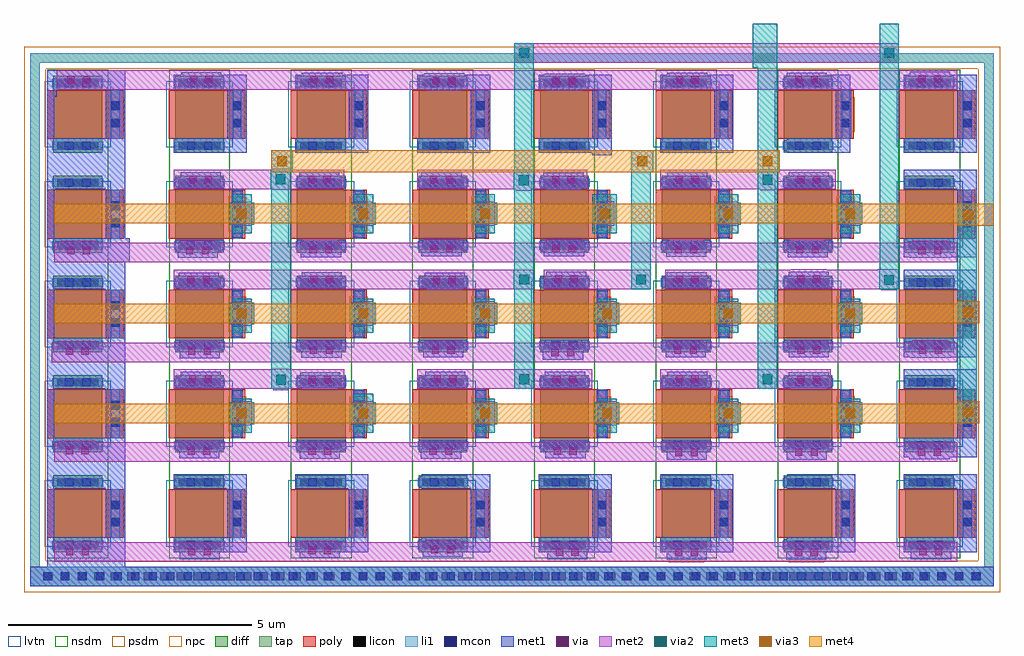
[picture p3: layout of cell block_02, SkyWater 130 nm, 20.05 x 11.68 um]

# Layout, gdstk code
from math import pi, radians
import gdstk
lib = gdstk.Library(unit=1e-6, precision=1e-09)
def R(c, l, rs):  # rectangles x0, y0, x1, y1
    for r in rs: c.add(gdstk.rectangle(r[:2], r[2:], *l))
def A(c, l, x, y, w, h, nx, ny, dx, dy):  # array of equal rectangles
    R(c, l, [(x+i*dx, y+j*dy, x+i*dx+w, y+j*dy+h) for i in range(nx) for j in range(ny)])
diff = (65, 20)
tap = (65, 44)
poly = (66, 20)
licon = (66, 44)
li1 = (67, 20)
mcon = (67, 44)
met1 = (68, 20)
via = (68, 44)
met2 = (69, 20)
via2 = (69, 44)
met3 = (70, 20)
via3 = (70, 44)
met4 = (71, 20)
nsdm = (93, 44)
psdm = (94, 20)
npc = (95, 20)
lvtn = (125, 44)

sky130_fd_pr__nfet_01v8_ = lib.new_cell('sky130_fd_pr__nfet_01v8_lvt_34DASA')
R(sky130_fd_pr__nfet_01v8_, diff, [(-0.79,-0.655,0.79,0.345)])
R(sky130_fd_pr__nfet_01v8_, poly, [(-0.5,-0.785,0.5,0.785)])
A(sky130_fd_pr__nfet_01v8_, licon, -0.73, -0.58, 0.17, 0.17, 1, 3, 0, 0.34)
A(sky130_fd_pr__nfet_01v8_, licon, 0.56, -0.58, 0.17, 0.17, 1, 3, 0, 0.34)
R(sky130_fd_pr__nfet_01v8_, licon, [(-0.255,0.535,-0.085,0.705), (0.085,0.535,0.255,0.705)])
R(sky130_fd_pr__nfet_01v8_, li1, [(-0.73,-0.675,-0.56,0.365), (0.56,-0.675,0.73,0.365), (-0.5,0.535,0.5,0.705)])
R(sky130_fd_pr__nfet_01v8_, mcon, [(-0.73,-0.42,-0.56,-0.25), (0.56,-0.42,0.73,-0.25), (-0.73,-0.06,-0.56,0.11), (0.56,-0.06,0.73,0.11), (-0.265,0.535,-0.095,0.705), (0.095,0.535,0.265,0.705)])
R(sky130_fd_pr__nfet_01v8_, met1, [(-0.76,-0.655,-0.53,0.345), (0.53,-0.655,0.76,0.345), (-0.48,0.505,0.48,0.735)])
R(sky130_fd_pr__nfet_01v8_, nsdm, [(-0.915,-0.78,0.915,0.47)])
R(sky130_fd_pr__nfet_01v8_, npc, [(-0.355,0.435,0.355,0.805)])
R(sky130_fd_pr__nfet_01v8_, lvtn, [(-0.68,-0.835,0.68,0.525)])

block_02 = lib.new_cell('block_02')
R(block_02, tap, [(-5.85,-26,13.95,-25.6), (-5.85,-25.6,-5.65,-15.25), (13.75,-25.6,13.95,-15.25), (-5.85,-15.25,13.95,-15.05)])
A(block_02, licon, -5.555, -25.885, 0.17, 0.17, 57, 1, 0.34, 0)
R(block_02, li1, [(-5.85,-26,13.95,-25.6), (-5.85,-25.6,-5.65,-15.25), (13.75,-25.6,13.95,-15.25), (-5.85,-15.25,13.95,-15.05)])
A(block_02, mcon, -5.575, -25.885, 0.17, 0.17, 54, 1, 0.36, 0)
A(block_02, met1, -5.5, -25, 0.15, 1, 1, 4, 0, 2.05)
A(block_02, met1, -4.3, -25, 0.4, 1, 8, 1, 2.5, 0)
A(block_02, met1, -4.3, -22.95, 0.4, 1, 1, 3, 0, 2.05)
A(block_02, met1, 13.2, -22.95, 0.4, 1, 1, 4, 0, 2.05)
A(block_02, met1, -1.75, -22.65, 0.5, 0.4, 6, 2, 2.5, 2.05)
A(block_02, met1, -1.75, -18.55, 0.5, 0.4, 3, 1, 2.5, 0)
A(block_02, met1, -2.9, -17.1, 1.5, 0.3, 5, 2, 2.5, 1.3)
A(block_02, met1, -4.3, -16.8, 0.4, 1, 6, 1, 2.5, 0)
R(block_02, met1, [(-5.85,-26,13.95,-25.6), (-5.5,-25.6,-3.9,-25), (7.225,-25.46,8.05,-25.3), (9.685,-25.46,10.51,-25.3), (4.775,-25.45,5.6,-25.3), (-2.78,-25.445,-1.955,-25.3), (12.245,-25.445,13.07,-25.3), (-0.31,-25.42,0.515,-25.3), (2.215,-25.4,3.04,-25.3), (-2.9,-25.3,-1.4,-25), (-0.4,-25.3,1.1,-25), (2.2,-25.3,3.6,-25), (4.6,-25.3,6.1,-25), (7.1,-25.3,8.6,-25), (9.685,-25.3,11.1,-25.16), (12.1,-25.3,13.6,-25), (9.7,-25.16,11.1,-25), (-5.5,-24,-3.9,-22.95), (-2.9,-24,-1.4,-23.7), (-0.4,-24,1.1,-23.7), (2.2,-24,3.6,-23.7), (4.6,-24,6.1,-23.7), (7.1,-24,8.6,-23.7), (9.7,-24,11.1,-23.7), (12.1,-24,13.6,-23.7), (7.225,-23.405,8.05,-23.105), (9.69,-23.4,10.515,-23.1), (12.215,-23.395,13.04,-23.35), (-0.31,-23.38,0.515,-23.08), (2.18,-23.38,3.005,-23.08), (-2.79,-23.375,-1.965,-23.075), (4.735,-23.375,5.56,-23.075), (12.1,-23.35,13.6,-22.95), (-5.5,-21.95,-3.9,-20.9), (12.1,-21.95,13.6,-21.55), (-0.305,-21.905,0.52,-21.605), (9.735,-21.905,10.56,-21.605), (4.725,-21.9,5.55,-21.6), (-2.76,-21.895,-1.935,-21.595), (2.265,-21.895,3.09,-21.595), (7.24,-21.895,8.065,-21.595), (4.685,-21.355,5.51,-21.055), (-2.78,-21.32,-1.955,-21.02), (-0.275,-21.305,0.55,-21.005), (12.235,-21.305,13.06,-21.3), (2.225,-21.3,3.05,-21), (7.205,-21.3,8.03,-21), (9.735,-21.3,10.56,-21), (12.1,-21.3,13.6,-20.9), (-5.5,-19.9,-3.9,-19.35), (12.1,-19.9,13.6,-19.5), (-2.8,-19.86,-1.975,-19.56), (2.255,-19.86,3.08,-19.56), (7.225,-19.855,8.05,-19.555), (-0.27,-19.85,0.555,-19.55), (4.755,-19.84,5.58,-19.54), (9.735,-19.84,10.56,-19.54), (-5.5,-19.35,-3.8,-18.85), (-2.82,-19.255,-1.995,-18.955), (12.225,-19.255,13.05,-19.25), (12.1,-19.25,13.6,-18.85), (-0.285,-19.24,0.54,-18.94), (9.71,-19.24,10.535,-18.94), (7.215,-19.235,8.04,-18.935), (2.19,-19.22,3.015,-18.92), (4.705,-19.22,5.53,-18.92), (5.76,-18.55,6.2,-18.145), (8.25,-18.55,8.75,-18.15), (10.75,-18.55,11.25,-18.15), (-5.5,-17.85,-3.9,-16.8), (12.1,-17.85,13.6,-17.45), (4.695,-17.81,5.52,-17.51), (-0.32,-17.8,0.505,-17.5), (2.19,-17.8,3.015,-17.5), (7.24,-17.8,8.065,-17.5), (9.735,-17.8,10.56,-17.5), (-2.755,-17.795,-1.93,-17.495), (5.7,-17.15,6.1,-17.1), (9.7,-17.1,11,-16.8), (12.1,-17.1,13.6,-16.8), (-5.5,-16.8,-5.35,-15.95), (10.7,-16.8,11,-15.8), (-5.5,-15.95,-5.3,-15.8), (-5.5,-15.8,-3.9,-15.4), (9.7,-15.8,11,-15.75), (12.1,-15.8,13.6,-15.5), (9.69,-15.75,11,-15.5), (-2.745,-15.5,-1.92,-15.44), (-0.265,-15.5,0.56,-15.45), (2.245,-15.5,3.07,-15.47), (4.715,-15.5,5.54,-15.475), (7.24,-15.5,8.065,-15.455), (9.69,-15.5,10.515,-15.45), (12.22,-15.5,13.045,-15.435)])
A(block_02, via, -1.575, -22.525, 0.15, 0.15, 6, 2, 2.5, 2.05)
A(block_02, via, -1.575, -18.425, 0.15, 0.15, 3, 1, 2.5, 0)
R(block_02, via, [(7.4,-25.385,7.55,-25.235), (7.72,-25.385,7.87,-25.235), (9.86,-25.385,10.01,-25.235), (10.18,-25.385,10.33,-25.235), (4.95,-25.375,5.1,-25.225), (5.27,-25.375,5.42,-25.225), (-2.605,-25.37,-2.455,-25.22), (-2.285,-25.37,-2.135,-25.22), (12.42,-25.37,12.57,-25.22), (12.74,-25.37,12.89,-25.22), (-5.11,-25.365,-4.96,-25.215), (-4.79,-25.365,-4.64,-25.215), (-0.135,-25.345,0.015,-25.195), (0.185,-25.345,0.335,-25.195), (2.39,-25.325,2.54,-25.175), (2.71,-25.325,2.86,-25.175), (7.4,-23.33,7.55,-23.18), (7.72,-23.33,7.87,-23.18), (9.865,-23.325,10.015,-23.175), (10.185,-23.325,10.335,-23.175), (12.39,-23.32,12.54,-23.17), (12.71,-23.32,12.86,-23.17), (-0.135,-23.305,0.015,-23.155), (0.185,-23.305,0.335,-23.155), (2.355,-23.305,2.505,-23.155), (2.675,-23.305,2.825,-23.155), (-2.615,-23.3,-2.465,-23.15), (-2.295,-23.3,-2.145,-23.15), (4.91,-23.3,5.06,-23.15), (5.23,-23.3,5.38,-23.15), (-5.115,-23.29,-4.965,-23.14), (-4.795,-23.29,-4.645,-23.14), (-0.13,-21.83,0.02,-21.68), (0.19,-21.83,0.34,-21.68), (9.91,-21.83,10.06,-21.68), (10.23,-21.83,10.38,-21.68), (4.9,-21.825,5.05,-21.675), (5.22,-21.825,5.37,-21.675), (-2.585,-21.82,-2.435,-21.67), (-2.265,-21.82,-2.115,-21.67), (2.44,-21.82,2.59,-21.67), (2.76,-21.82,2.91,-21.67), (7.415,-21.82,7.565,-21.67), (7.735,-21.82,7.885,-21.67), (4.86,-21.28,5.01,-21.13), (5.18,-21.28,5.33,-21.13), (-5.115,-21.25,-4.965,-21.1), (-4.795,-21.25,-4.645,-21.1), (-2.605,-21.245,-2.455,-21.095), (-2.285,-21.245,-2.135,-21.095), (-0.1,-21.23,0.05,-21.08), (0.22,-21.23,0.37,-21.08), (12.41,-21.23,12.56,-21.08), (12.73,-21.23,12.88,-21.08), (2.4,-21.225,2.55,-21.075), (2.72,-21.225,2.87,-21.075), (7.38,-21.225,7.53,-21.075), (7.7,-21.225,7.85,-21.075), (9.91,-21.225,10.06,-21.075), (10.23,-21.225,10.38,-21.075), (-2.625,-19.785,-2.475,-19.635), (-2.305,-19.785,-2.155,-19.635), (2.43,-19.785,2.58,-19.635), (2.75,-19.785,2.9,-19.635), (7.415,-19.78,7.565,-19.63), (7.735,-19.78,7.885,-19.63), (-0.095,-19.775,0.055,-19.625), (0.225,-19.775,0.375,-19.625), (4.93,-19.765,5.08,-19.615), (5.25,-19.765,5.4,-19.615), (9.91,-19.765,10.06,-19.615), (10.23,-19.765,10.38,-19.615), (-5.085,-19.18,-4.935,-19.03), (-4.765,-19.18,-4.615,-19.03), (-2.645,-19.18,-2.495,-19.03), (-2.325,-19.18,-2.175,-19.03), (12.4,-19.18,12.55,-19.03), (12.72,-19.18,12.87,-19.03), (-0.11,-19.165,0.04,-19.015), (0.21,-19.165,0.36,-19.015), (9.885,-19.165,10.035,-19.015), (10.205,-19.165,10.355,-19.015), (7.39,-19.16,7.54,-19.01), (7.71,-19.16,7.86,-19.01), (2.365,-19.145,2.515,-18.995), (2.685,-19.145,2.835,-18.995), (4.88,-19.145,5.03,-18.995), (5.2,-19.145,5.35,-18.995), (5.905,-18.425,6.055,-18.275), (8.425,-18.425,8.575,-18.275), (10.925,-18.425,11.075,-18.275), (4.87,-17.735,5.02,-17.585), (5.19,-17.735,5.34,-17.585), (-0.145,-17.725,0.005,-17.575), (0.175,-17.725,0.325,-17.575), (2.365,-17.725,2.515,-17.575), (2.685,-17.725,2.835,-17.575), (7.415,-17.725,7.565,-17.575), (7.735,-17.725,7.885,-17.575), (9.91,-17.725,10.06,-17.575), (10.23,-17.725,10.38,-17.575), (-2.58,-17.72,-2.43,-17.57), (-2.26,-17.72,-2.11,-17.57), (4.89,-15.7,5.04,-15.55), (5.21,-15.7,5.36,-15.55), (2.42,-15.695,2.57,-15.545), (2.74,-15.695,2.89,-15.545), (-5.085,-15.68,-4.935,-15.53), (-4.765,-15.68,-4.615,-15.53), (7.415,-15.68,7.565,-15.53), (7.735,-15.68,7.885,-15.53), (-0.09,-15.675,0.06,-15.525), (0.23,-15.675,0.38,-15.525), (9.865,-15.675,10.015,-15.525), (10.185,-15.675,10.335,-15.525), (-2.57,-15.665,-2.42,-15.515), (-2.25,-15.665,-2.1,-15.515), (12.395,-15.66,12.545,-15.51), (12.715,-15.66,12.865,-15.51)])
A(block_02, met2, -1.7, -22.7, 0.4, 0.5, 6, 2, 2.5, 2.05)
A(block_02, met2, -1.7, -18.6, 0.4, 0.5, 3, 1, 2.5, 0)
R(block_02, met2, [(7.275,-25.51,8,-25.5), (9.735,-25.51,10.46,-25.5), (-5.35,-25.5,13.2,-25.1), (-5.235,-25.1,-4.51,-25.09), (-2.73,-25.1,-2.005,-25.095), (-0.26,-25.1,0.465,-25.07), (2.265,-25.1,2.99,-25.05), (12.295,-25.1,13.02,-25.095), (-5.35,-23.45,13.2,-23.05), (-5.24,-23.05,-4.515,-23.015), (-2.74,-23.05,-2.015,-23.025), (-0.26,-23.05,0.465,-23.03), (2.23,-23.05,2.955,-23.03), (4.785,-23.05,5.51,-23.025), (12.265,-23.05,12.99,-23.045), (-0.85,-21.975,-0.535,-21.95), (-0.255,-21.955,0.47,-21.95), (9.785,-21.955,10.51,-21.95), (-2.9,-21.95,0.6,-21.55), (2.1,-21.95,5.7,-21.55), (7.1,-21.95,10.6,-21.55), (-2.71,-21.55,-1.985,-21.545), (-0.85,-21.55,-0.535,-21.54), (2.315,-21.55,3.04,-21.545), (7.29,-21.55,8.015,-21.545), (-5.4,-21.4,13.2,-21), (-5.24,-21,-4.515,-20.975), (-2.73,-21,-2.005,-20.97), (-0.225,-21,0.5,-20.955), (2.275,-21,3,-20.95), (7.255,-21,7.98,-20.95), (9.785,-21,10.51,-20.95), (12.285,-21,13.01,-20.955), (11.64,-19.925,11.955,-19.9), (-2.75,-19.91,-2.025,-19.9), (2.305,-19.91,3.03,-19.9), (7.275,-19.905,8,-19.9), (-2.9,-19.9,4.5,-19.5), (4.7,-19.9,6.9,-19.5), (7.2,-19.9,12,-19.5), (9.785,-19.5,10.51,-19.49), (11.56,-19.5,11.955,-19.49), (-5.35,-19.35,13.2,-18.95), (-5.21,-18.95,-4.485,-18.905), (-2.77,-18.95,-2.045,-18.905), (-0.235,-18.95,0.49,-18.89), (2.24,-18.95,2.965,-18.87), (4.755,-18.95,5.48,-18.87), (7.265,-18.95,7.99,-18.885), (9.76,-18.95,10.485,-18.89), (12.275,-18.95,13,-18.905), (5.81,-18.6,6.15,-18.095), (8.3,-18.6,8.7,-18.1), (10.8,-18.6,11.2,-18.1), (4.135,-17.88,4.45,-17.85), (9.145,-17.87,9.46,-17.85), (-0.86,-17.86,-0.545,-17.85), (4.745,-17.86,5.47,-17.85), (-2.9,-17.85,0.6,-17.45), (2.1,-17.85,5.6,-17.45), (7.1,-17.85,10.7,-17.45), (-2.705,-17.45,-1.98,-17.445), (-0.86,-17.45,-0.545,-17.425), (4.135,-17.45,4.45,-17.445), (9.145,-17.45,9.46,-17.435), (4.765,-15.825,5.49,-15.8), (2.295,-15.82,3.02,-15.8), (-5.21,-15.805,-4.485,-15.8), (7.29,-15.805,8.015,-15.8), (-5.3,-15.8,13.2,-15.4), (4.1,-15.25,12,-14.85)])
A(block_02, via2, -1.6, -22.55, 0.2, 0.2, 6, 2, 2.5, 2.05)
A(block_02, via2, -1.6, -18.45, 0.2, 0.2, 3, 1, 2.5, 0)
R(block_02, via2, [(-0.795,-21.86,-0.595,-21.66), (4.2,-21.85,4.4,-21.65), (9.2,-21.85,9.4,-21.65), (11.695,-19.81,11.895,-19.61), (4.2,-19.8,4.4,-19.6), (6.6,-19.8,6.8,-19.6), (5.88,-18.45,6.08,-18.25), (8.4,-18.45,8.6,-18.25), (10.9,-18.45,11.1,-18.25), (4.19,-17.765,4.39,-17.565), (9.2,-17.755,9.4,-17.555), (-0.805,-17.745,-0.605,-17.545), (4.2,-15.15,4.4,-14.95), (11.7,-15.15,11.9,-14.95)])
A(block_02, met3, -1.7, -22.85, 0.4, 0.175, 6, 2, 2.5, 2.05)
A(block_02, met3, -1.75, -22.675, 0.5, 0.45, 6, 2, 2.5, 2.05)
A(block_02, met3, 3.3, -22.225, 0.4, 0.075, 4, 1, 2.5, 0)
A(block_02, met3, -1.7, -20.175, 0.4, 0.075, 6, 1, 2.5, 0)
A(block_02, met3, -1.7, -18.75, 0.4, 0.175, 3, 2, 2.5, 0.625)
A(block_02, met3, -1.75, -18.575, 0.5, 0.45, 3, 1, 2.5, 0)
R(block_02, met3, [(13.2,-22.65,13.65,-22.2), (-1.7,-22.225,-1.3,-22.15), (0.8,-22.225,1.2,-22.05), (13.2,-22.2,13.6,-20.6), (-0.9,-21.95,-0.485,-21.565), (4.1,-21.95,4.5,-19.88), (9.1,-21.95,9.5,-17.845), (-0.9,-21.565,-0.5,-17.835), (13.2,-20.6,13.65,-20.15), (13.2,-20.15,13.6,-18.15), (6.5,-19.9,6.9,-17.5), (11.59,-19.9,12.005,-19.515), (4.09,-19.88,4.505,-19.495), (11.6,-19.515,12,-14.45), (4.1,-19.495,4.5,-17.855), (5.7,-18.75,6.2,-17.95), (8.3,-18.75,8.7,-18.575), (10.8,-18.75,11.2,-18.575), (8.25,-18.575,8.75,-18.125), (10.75,-18.575,11.25,-18.125), (8.3,-18.125,8.7,-17.95), (10.8,-18.125,11.2,-17.95), (4.085,-17.855,4.5,-17.47), (9.095,-17.845,9.51,-17.5), (-0.91,-17.835,-0.495,-17.5), (-0.91,-17.5,-0.45,-17.45), (6.5,-17.5,6.95,-17.05), (9.095,-17.5,9.55,-17.46), (4.1,-17.47,4.5,-14.85), (9.1,-17.46,9.55,-17.05), (-0.9,-17.45,-0.45,-17.05), (9.1,-17.05,9.5,-15.35), (9,-15.35,9.5,-14.45)])
A(block_02, via3, -1.6, -22.55, 0.2, 0.2, 6, 2, 2.5, 2.05)
A(block_02, via3, -1.6, -18.45, 0.2, 0.2, 3, 1, 2.5, 0)
R(block_02, via3, [(13.325,-22.525,13.525,-22.325), (13.325,-20.475,13.525,-20.275), (13.325,-18.475,13.525,-18.275), (5.85,-18.45,6.05,-18.25), (8.4,-18.45,8.6,-18.25), (10.9,-18.45,11.1,-18.25), (-0.775,-17.375,-0.575,-17.175), (6.625,-17.375,6.825,-17.175), (9.2,-17.375,9.4,-17.175)])
A(block_02, met4, -1.705, -22.655, 0.41, 0.005, 6, 2, 2.5, 0.405)
A(block_02, met4, -1.705, -20.605, 0.41, 0.005, 6, 2, 2.5, 0.405)
A(block_02, met4, -1.705, -18.555, 0.41, 0.005, 3, 2, 2.5, 0.405)
R(block_02, met4, [(-5.35,-22.65,13.65,-22.25), (13.2,-22.25,13.65,-22.2), (13.2,-20.605,13.6,-20.6), (-5.35,-20.6,13.65,-20.2), (13.2,-20.2,13.65,-20.15), (13.2,-18.6,13.95,-18.55), (5.745,-18.555,6.155,-18.55), (8.295,-18.555,8.705,-18.55), (10.795,-18.555,11.205,-18.55), (-5.35,-18.55,13.95,-18.15), (5.745,-18.15,6.155,-18.145), (8.295,-18.15,8.705,-18.145), (10.795,-18.15,11.205,-18.145), (-0.9,-17.5,9.55,-17.05)])
A(block_02, nsdm, -5.495, -23.595, 1.25, 0.22, 8, 4, 2.5, 2.05)
R(block_02, psdm, [(-5.975,-26.125,14.075,-25.475), (-5.975,-25.475,-5.525,-15.375), (13.625,-25.475,14.075,-15.375), (-5.975,-15.375,14.075,-14.925)])
block_02.add(gdstk.Reference(sky130_fd_pr__nfet_01v8_, (-4.715,-22.46), rotation=3*pi/2))
block_02.add(gdstk.Reference(sky130_fd_pr__nfet_01v8_, (-4.715,-24.51), rotation=3*pi/2))
block_02.add(gdstk.Reference(sky130_fd_pr__nfet_01v8_, (-2.215,-22.46), rotation=3*pi/2))
block_02.add(gdstk.Reference(sky130_fd_pr__nfet_01v8_, (-2.215,-24.51), rotation=3*pi/2))
block_02.add(gdstk.Reference(sky130_fd_pr__nfet_01v8_, (0.285,-22.46), rotation=3*pi/2))
block_02.add(gdstk.Reference(sky130_fd_pr__nfet_01v8_, (0.285,-24.51), rotation=3*pi/2))
block_02.add(gdstk.Reference(sky130_fd_pr__nfet_01v8_, (2.785,-22.46), rotation=3*pi/2))
block_02.add(gdstk.Reference(sky130_fd_pr__nfet_01v8_, (2.785,-24.51), rotation=3*pi/2))
block_02.add(gdstk.Reference(sky130_fd_pr__nfet_01v8_, (5.285,-22.46), rotation=3*pi/2))
block_02.add(gdstk.Reference(sky130_fd_pr__nfet_01v8_, (5.285,-24.51), rotation=3*pi/2))
block_02.add(gdstk.Reference(sky130_fd_pr__nfet_01v8_, (7.785,-22.46), rotation=3*pi/2))
block_02.add(gdstk.Reference(sky130_fd_pr__nfet_01v8_, (7.785,-24.51), rotation=3*pi/2))
block_02.add(gdstk.Reference(sky130_fd_pr__nfet_01v8_, (10.285,-22.46), rotation=3*pi/2))
block_02.add(gdstk.Reference(sky130_fd_pr__nfet_01v8_, (10.285,-24.51), rotation=3*pi/2))
block_02.add(gdstk.Reference(sky130_fd_pr__nfet_01v8_, (12.785,-22.46), rotation=3*pi/2))
block_02.add(gdstk.Reference(sky130_fd_pr__nfet_01v8_, (12.785,-24.51), rotation=3*pi/2))
block_02.add(gdstk.Reference(sky130_fd_pr__nfet_01v8_, (-4.715,-20.41), rotation=3*pi/2))
block_02.add(gdstk.Reference(sky130_fd_pr__nfet_01v8_, (-2.215,-20.41), rotation=3*pi/2))
block_02.add(gdstk.Reference(sky130_fd_pr__nfet_01v8_, (0.285,-20.41), rotation=3*pi/2))
block_02.add(gdstk.Reference(sky130_fd_pr__nfet_01v8_, (2.785,-20.41), rotation=3*pi/2))
block_02.add(gdstk.Reference(sky130_fd_pr__nfet_01v8_, (5.285,-20.41), rotation=3*pi/2))
block_02.add(gdstk.Reference(sky130_fd_pr__nfet_01v8_, (7.785,-20.41), rotation=3*pi/2))
block_02.add(gdstk.Reference(sky130_fd_pr__nfet_01v8_, (10.285,-20.41), rotation=3*pi/2))
block_02.add(gdstk.Reference(sky130_fd_pr__nfet_01v8_, (12.785,-20.41), rotation=3*pi/2))
block_02.add(gdstk.Reference(sky130_fd_pr__nfet_01v8_, (-4.715,-18.36), rotation=3*pi/2))
block_02.add(gdstk.Reference(sky130_fd_pr__nfet_01v8_, (-2.215,-18.36), rotation=3*pi/2))
block_02.add(gdstk.Reference(sky130_fd_pr__nfet_01v8_, (0.285,-18.36), rotation=3*pi/2))
block_02.add(gdstk.Reference(sky130_fd_pr__nfet_01v8_, (2.785,-18.36), rotation=3*pi/2))
block_02.add(gdstk.Reference(sky130_fd_pr__nfet_01v8_, (5.285,-18.36), rotation=3*pi/2))
block_02.add(gdstk.Reference(sky130_fd_pr__nfet_01v8_, (7.785,-18.36), rotation=3*pi/2))
block_02.add(gdstk.Reference(sky130_fd_pr__nfet_01v8_, (10.285,-18.36), rotation=3*pi/2))
block_02.add(gdstk.Reference(sky130_fd_pr__nfet_01v8_, (12.785,-18.36), rotation=3*pi/2))
block_02.add(gdstk.Reference(sky130_fd_pr__nfet_01v8_, (-4.715,-16.31), rotation=3*pi/2))
block_02.add(gdstk.Reference(sky130_fd_pr__nfet_01v8_, (-2.215,-16.31), rotation=3*pi/2))
block_02.add(gdstk.Reference(sky130_fd_pr__nfet_01v8_, (0.285,-16.31), rotation=3*pi/2))
block_02.add(gdstk.Reference(sky130_fd_pr__nfet_01v8_, (2.785,-16.31), rotation=3*pi/2))
block_02.add(gdstk.Reference(sky130_fd_pr__nfet_01v8_, (5.285,-16.31), rotation=3*pi/2))
block_02.add(gdstk.Reference(sky130_fd_pr__nfet_01v8_, (7.785,-16.31), rotation=3*pi/2))
block_02.add(gdstk.Reference(sky130_fd_pr__nfet_01v8_, (10.285,-16.31), rotation=3*pi/2))
block_02.add(gdstk.Reference(sky130_fd_pr__nfet_01v8_, (12.785,-16.31), rotation=3*pi/2))

lib.write_gds('block_02.gds')
